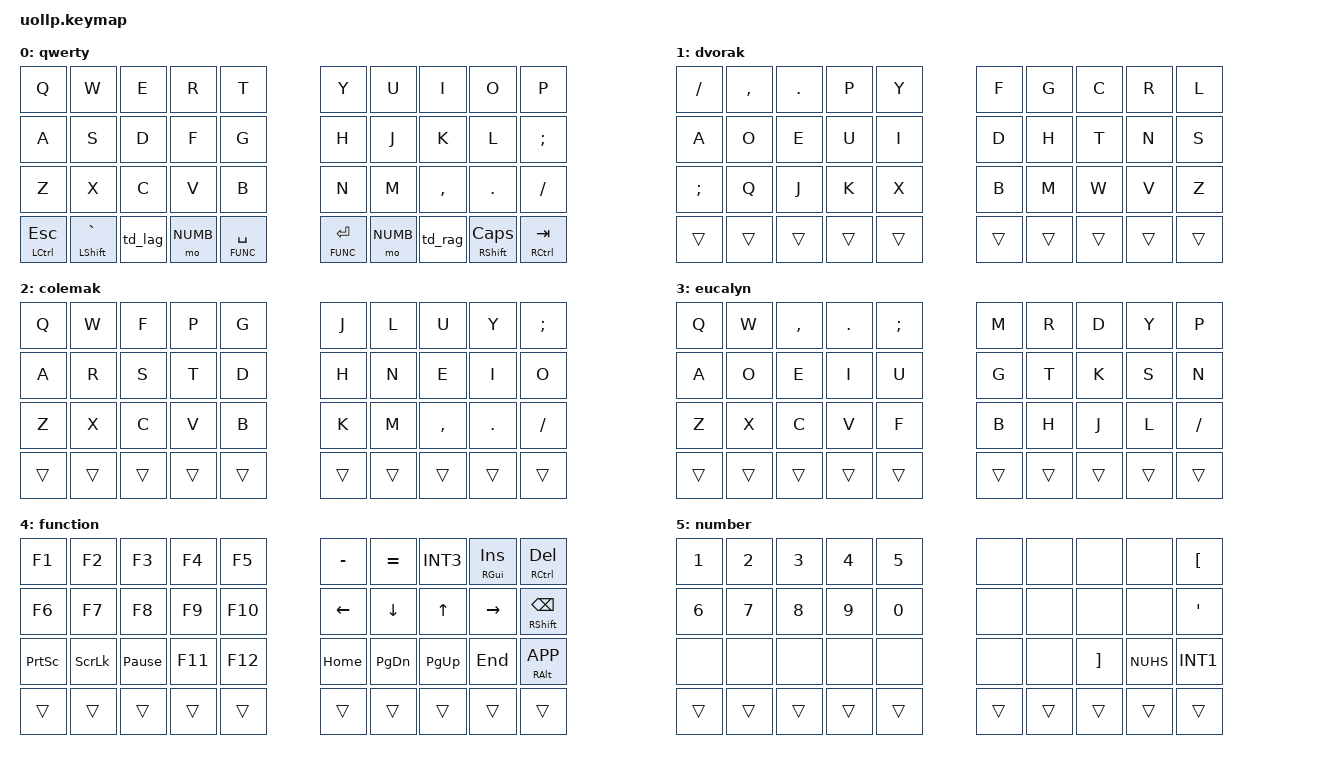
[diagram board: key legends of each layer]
#include <behaviors.dtsi>
#include <dt-bindings/zmk/bt.h>
#include <dt-bindings/zmk/keys.h>
#include <dt-bindings/zmk/outputs.h>

#define QWERTY	0
#define DVORAK	1
#define COLEMAK	2
#define EUCALYN	3
#define FUNC	4
#define NUMB	5

#define TAP_DANCE(NAME, TERM, ...) NAME: NAME {\
	compatible = "zmk,behavior-tap-dance";\
	#binding-cells = <0>; tapping-term-ms = <TERM>; bindings = __VA_ARGS__;\
}

/ {

	behaviors {

		TAP_DANCE(td_lag, 300, <&kp LALT>, <&kp LGUI>);
		TAP_DANCE(td_rag, 300, <&kp RALT>, <&kp RGUI>);
	};

	keymap {
		compatible = "zmk,keymap";

		qwerty {
			bindings = <
				&kp Q			&kp W			&kp E	&kp R		&kp T			&kp Y			&kp U		&kp I		&kp O			&kp P
				&kp A			&kp S			&kp D	&kp F		&kp G			&kp H			&kp J		&kp K		&kp L			&kp SEMI
				&kp Z			&kp X			&kp C	&kp V		&kp B			&kp N			&kp M		&kp COMMA	&kp DOT			&kp SLASH
				&mt LCTRL ESC	&mt LSHFT GRAVE &td_lag	&mo NUMB	&lt FUNC SPACE	&lt FUNC ENTER	&mo NUMB	&td_rag		&mt RSHFT CAPS	&mt RCTRL TAB
			>;
		};
		dvorak {
			bindings = <
				&kp SLASH	&kp COMMA	&kp DOT		&kp P	&kp Y	&kp F	&kp G	&kp C	&kp R	&kp L
				&kp A		&kp O		&kp E		&kp U	&kp I	&kp D	&kp H	&kp T	&kp N	&kp S
				&kp SEMI	&kp Q		&kp J		&kp K	&kp X	&kp B	&kp M	&kp W	&kp V	&kp Z
				&trans		&trans		&trans		&trans	&trans	&trans	&trans	&trans	&trans	&trans
			>;
		};
		colemak {
			bindings = <
				&kp Q	&kp W	&kp F	&kp P	&kp G	&kp J	&kp L	&kp U		&kp Y	&kp SEMI
				&kp A	&kp R	&kp S	&kp T	&kp D	&kp H	&kp N	&kp E		&kp I	&kp O
				&kp Z	&kp X	&kp C	&kp V	&kp B	&kp K	&kp M	&kp COMMA	&kp DOT	&kp SLASH
				&trans		&trans		&trans		&trans	&trans	&trans	&trans	&trans	&trans	&trans
			>;
		};
		eucalyn {
			bindings = <
				&kp Q	&kp W	&kp COMMA	&kp DOT		&kp SEMI	&kp M	&kp R	&kp D	&kp Y	&kp P
				&kp A	&kp O	&kp E		&kp I		&kp U		&kp G	&kp T	&kp K	&kp S	&kp N
				&kp Z	&kp X	&kp C		&kp V		&kp F		&kp B	&kp H	&kp J	&kp L	&kp SLASH
				&trans		&trans		&trans		&trans	&trans	&trans	&trans	&trans	&trans	&trans
			>;
		};
		function {
			bindings = <
				&kp F1		&kp F2		&kp F3			&kp F4		&kp F5		&kp MINUS	&kp EQUAL	&kp INT3	&mt RGUI INS	&mt RCTRL DEL
				&kp F6		&kp F7		&kp F8			&kp F9		&kp F10		&kp LEFT	&kp DOWN	&kp UP		&kp RIGHT		&mt RSHFT BSPC
				&kp PSCRN	&kp SLCK	&kp PAUSE_BREAK	&kp F11		&kp F12		&kp HOME	&kp PG_DN	&kp PG_UP	&kp END			&mt RALT K_APP
				&trans		&trans		&trans			&trans		&trans		&trans		&trans		&trans		&trans			&trans
			>;
		};
		number {
			bindings = <
				&kp N1	&kp N2	&kp N3	&kp N4	&kp N5	&none	&none	&none		&none		&kp LBKT
				&kp N6	&kp N7	&kp N8	&kp N9	&kp N0	&none	&none	&none		&none		&kp SQT
				&none	&none	&none	&none	&none	&none	&none	&kp RBKT	&kp NUHS	&kp INT1
				&trans	&trans	&trans	&trans	&trans	&trans	&trans	&trans		&trans		&trans
			>;
		};
	};
};
